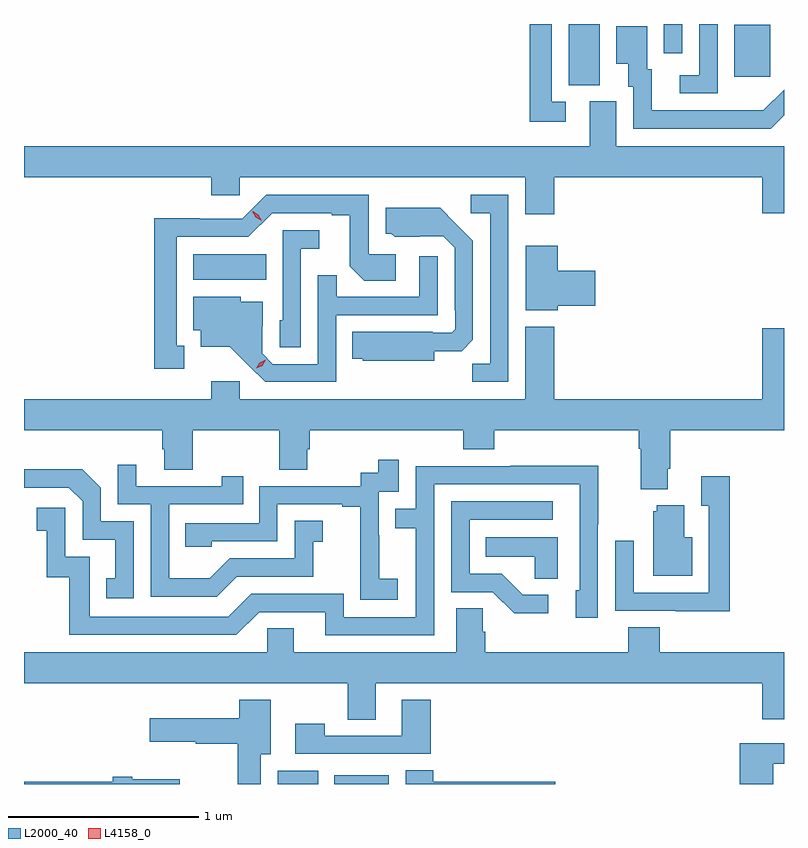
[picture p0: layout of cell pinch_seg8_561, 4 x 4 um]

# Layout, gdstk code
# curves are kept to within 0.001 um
import gdstk
lib = gdstk.Library(unit=1e-6, precision=1e-09)
def R(c, l, rs):  # rectangles x0, y0, x1, y1
    for r in rs: c.add(gdstk.rectangle(r[:2], r[2:], *l))
def P(c, l, *ps):  # polygons
    for p in ps: c.add(gdstk.Polygon(p, *l))
L2000_40 = (2000, 40)
L4158_0 = (4158, 0)

pinch_seg8_561 = lib.new_cell('pinch_seg8_561')
R(pinch_seg8_561, L2000_40, [(138.482,1106.647,138.694,1106.716), (138.779,1106.647,139.066,1106.692), (138.038,1109.3,138.422,1109.434), (140.012,1110.325,140.176,1110.647), (140.885,1110.369,141.073,1110.643), (140.514,1110.492,140.61,1110.647)])
P(pinch_seg8_561, L2000_40, [(140.796,1110.647),(140.7,1110.647),(140.7,1110.378),(140.598,1110.378),(140.598,1110.282),(140.796,1110.282)],
  [(139.996,1110.237),(139.923,1110.237),(139.923,1110.647),(139.807,1110.647),(139.807,1110.132),(139.996,1110.132)],
  [(141.146,1110.166),(141.146,1110.302),(141.037,1110.193),(140.449,1110.192),(140.449,1110.408),(140.425,1110.408),(140.425,1110.634),(140.264,1110.634),(140.264,1110.437),(140.327,1110.437),(140.327,1110.318),(140.352,1110.318),(140.352,1110.096),(141.076,1110.096)],
  [(139.937,1109.84),(141.032,1109.84),(141.032,1109.652),(141.146,1109.652),(141.146,1110.004),(140.263,1110.004),(140.263,1110.24),(140.123,1110.24),(140.123,1110.004),(137.146,1110.004),(137.146,1109.84),(138.131,1109.84),(138.131,1109.747),(138.282,1109.747),(138.282,1109.84),(139.784,1109.84),(139.784,1109.646),(139.937,1109.646)],
  [(137.989,1108.953),(137.95,1108.953),(137.95,1109.526),(138.327,1109.526),(138.453,1109.652),(138.767,1109.652),(138.767,1109.64),(138.861,1109.64),(138.861,1109.372),(138.937,1109.296),(139.102,1109.296),(139.102,1109.436),(138.96,1109.436),(138.96,1109.748),(138.42,1109.748),(138.294,1109.622),(138.072,1109.622),(138.072,1109.624),(137.832,1109.624),(137.832,1108.833),(137.989,1108.833)],
  [(139.695,1109.748),(139.497,1109.748),(139.497,1109.652),(139.599,1109.652),(139.599,1108.859),(139.504,1108.859),(139.504,1108.764),(139.695,1108.764)],
  [(139.306,1108.925),(139.45,1108.925),(139.509,1108.984),(139.509,1109.506),(139.337,1109.68),(139.049,1109.68),(139.049,1109.544),(139.08,1109.544),(139.096,1109.528),(139.353,1109.529),(139.413,1109.469),(139.413,1109.14),(139.416,1109.14),(139.416,1109.04),(139.398,1109.022),(139.298,1109.022),(139.298,1109.026),(138.874,1109.026),(138.874,1108.886),(138.93,1108.886),(138.93,1108.874),(139.306,1108.874)],
  [(138.603,1109.465),(138.7,1109.465),(138.7,1109.562),(138.507,1109.562),(138.507,1109.088),(138.492,1109.088),(138.492,1108.945),(138.603,1108.945)],
  [(139.954,1109.165),(140.152,1109.165),(140.152,1109.348),(139.954,1109.348),(139.954,1109.479),(139.787,1109.479),(139.787,1109.141),(139.954,1109.141)],
  [(138.789,1109.115),(139.323,1109.115),(139.323,1109.425),(139.227,1109.425),(139.227,1109.211),(138.791,1109.211),(138.791,1109.324),(138.693,1109.324),(138.693,1108.857),(138.456,1108.857),(138.399,1108.914),(138.399,1109.056),(138.403,1109.056),(138.403,1109.185),(138.288,1109.185),(138.288,1109.212),(138.038,1109.212),(138.038,1109.036),(138.077,1109.036),(138.077,1108.949),(138.229,1108.949),(138.416,1108.764),(138.789,1108.764)],
  [(140.533,1108.306),(140.546,1108.306),(140.546,1108.508),(141.146,1108.508),(141.146,1109.047),(141.032,1109.047),(141.032,1108.672),(139.937,1108.672),(139.937,1109.053),(139.784,1109.053),(139.784,1108.672),(138.282,1108.672),(138.282,1108.768),(138.131,1108.768),(138.131,1108.672),(137.146,1108.672),(137.146,1108.508),(137.873,1108.508),(137.873,1108.41),(137.885,1108.41),(137.885,1108.3),(138.033,1108.3),(138.033,1108.508),(138.49,1108.508),(138.49,1108.3),(138.637,1108.3),(138.637,1108.41),(138.65,1108.41),(138.65,1108.508),(139.457,1108.508),(139.457,1108.409),(139.622,1108.409),(139.622,1108.508),(140.381,1108.508),(140.381,1108.412),(140.393,1108.412),(140.393,1108.199),(140.533,1108.199)],
  [(139.114,1107.727),(139.016,1107.727),(139.016,1107.956),(139.014,1107.956),(139.014,1108.185),(139.119,1108.185),(139.119,1108.354),(139.011,1108.354),(139.011,1108.284),(138.918,1108.284),(138.918,1108.215),(138.384,1108.215),(138.384,1108.02),(137.995,1108.02),(137.995,1107.897),(138.135,1107.897),(138.135,1107.924),(138.48,1107.924),(138.48,1108.119),(138.821,1108.119),(138.821,1108.107),(138.917,1108.107),(138.917,1107.823),(138.916,1107.823),(138.916,1107.617),(139.114,1107.617)],
  [(138.265,1107.738),(138.669,1107.738),(138.669,1107.923),(138.718,1107.923),(138.718,1108.033),(138.57,1108.033),(138.57,1107.834),(138.228,1107.834),(138.124,1107.73),(137.91,1107.73),(137.91,1108.119),(138.299,1108.119),(138.299,1108.267),(138.188,1108.267),(138.188,1108.215),(137.737,1108.215),(137.737,1108.327),(137.64,1108.327),(137.64,1108.119),(137.814,1108.119),(137.814,1107.633),(138.16,1107.633)],
  [(139.305,1108.224),(140.07,1108.224),(140.07,1107.666),(140.051,1107.666),(140.051,1107.522),(140.166,1107.522),(140.166,1108.015),(140.169,1108.015),(140.169,1108.322),(139.705,1108.322),(139.705,1108.32),(139.209,1108.32),(139.209,1108.095),(139.099,1108.095),(139.099,1107.994),(139.209,1107.994),(139.209,1107.525),(138.828,1107.525),(138.828,1107.648),(138.342,1107.648),(138.222,1107.528),(137.493,1107.528),(137.493,1107.843),(137.364,1107.843),(137.364,1108.102),(137.214,1108.102),(137.214,1107.981),(137.267,1107.981),(137.267,1107.735),(137.385,1107.735),(137.385,1107.432),(138.264,1107.432),(138.384,1107.552),(138.731,1107.552),(138.731,1107.429),(139.305,1107.429)],
  [(137.724,1108.029),(137.55,1108.029),(137.55,1108.206),(137.452,1108.304),(137.146,1108.304),(137.146,1108.206),(137.382,1108.206),(137.454,1108.134),(137.454,1107.933),(137.627,1107.933),(137.627,1107.729),(137.578,1107.729),(137.578,1107.624),(137.724,1107.624)],
  [(140.86,1108.267),(140.711,1108.267),(140.711,1108.111),(140.751,1108.111),(140.751,1107.654),(140.355,1107.654),(140.355,1107.928),(140.259,1107.928),(140.259,1107.558),(140.575,1107.558),(140.575,1107.557),(140.86,1107.557)],
  [(139.906,1107.642),(139.771,1107.642),(139.66,1107.753),(139.491,1107.753),(139.491,1108.038),(139.93,1108.038),(139.93,1108.134),(139.395,1108.134),(139.395,1107.657),(139.614,1107.657),(139.727,1107.545),(139.906,1107.545)],
  [(140.662,1107.946),(140.62,1107.946),(140.62,1108.114),(140.477,1108.114),(140.477,1108.083),(140.459,1108.083),(140.459,1107.743),(140.662,1107.743)],
  [(139.954,1107.946),(139.576,1107.946),(139.576,1107.842),(139.833,1107.842),(139.833,1107.727),(139.954,1107.727)],
  [(138.997,1107.176),(141.032,1107.176),(141.032,1106.988),(141.146,1106.988),(141.146,1107.34),(140.492,1107.34),(140.492,1107.473),(140.327,1107.473),(140.327,1107.34),(139.574,1107.34),(139.574,1107.449),(139.56,1107.449),(139.56,1107.572),(139.421,1107.572),(139.421,1107.34),(138.565,1107.34),(138.565,1107.467),(138.426,1107.467),(138.426,1107.34),(137.146,1107.34),(137.146,1107.176),(138.85,1107.176),(138.85,1106.986),(138.997,1106.986)],
  [(139.286,1107.091),(139.133,1107.091),(139.133,1106.901),(138.729,1106.901),(138.729,1106.965),(138.573,1106.965),(138.573,1106.805),(139.286,1106.805)],
  [(138.391,1106.804),(138.445,1106.804),(138.445,1107.091),(138.278,1107.091),(138.278,1106.992),(137.808,1106.992),(137.808,1106.87),(138.051,1106.87),(138.051,1106.858),(138.271,1106.858),(138.271,1106.647),(138.391,1106.647)],
  [(141.09,1106.754),(141.146,1106.754),(141.146,1106.862),(140.912,1106.862),(140.912,1106.647),(141.09,1106.647)],
  [(139.942,1106.66),(139.301,1106.66),(139.301,1106.72),(139.154,1106.72),(139.154,1106.647),(139.942,1106.647)],
  [(137.965,1106.671),(137.716,1106.671),(137.716,1106.684),(137.612,1106.684),(137.612,1106.66),(137.146,1106.66),(137.146,1106.647),(137.965,1106.647)])
P(pinch_seg8_561, L4158_0, [(138.398,1109.611),(138.366,1109.629),(138.348,1109.662),(138.348,1109.662),(138.349,1109.662),(138.38,1109.643),(138.398,1109.611),(138.398,1109.611)],
  [(138.369,1108.834),(138.369,1108.834),(138.387,1108.864),(138.418,1108.879),(138.418,1108.879),(138.418,1108.879),(138.4,1108.849),(138.369,1108.834)])

lib.write_gds('pinch_seg8_561.gds')
